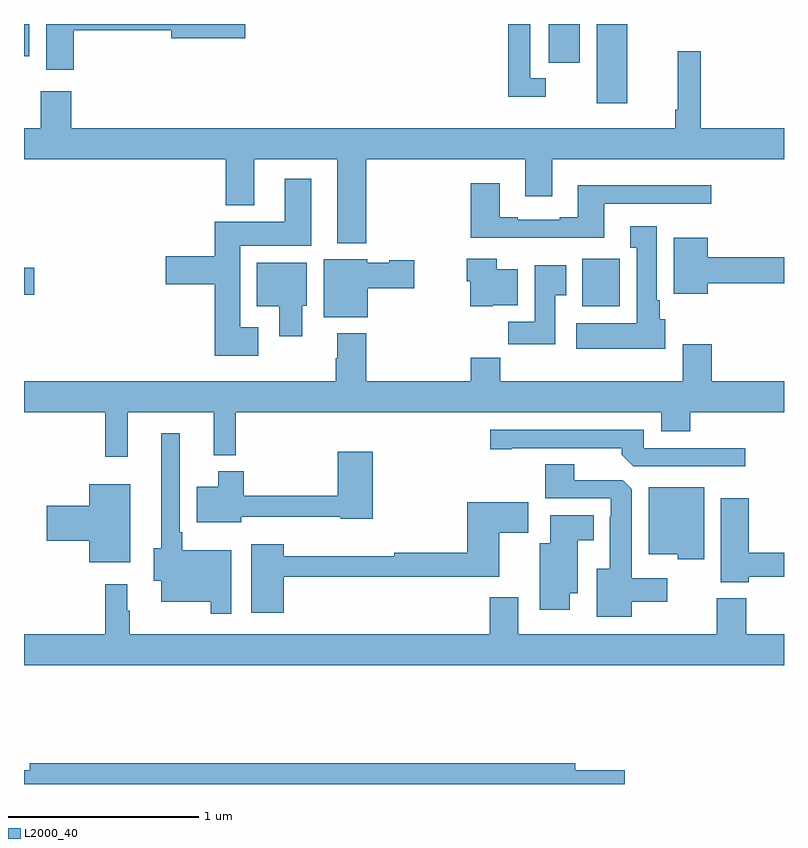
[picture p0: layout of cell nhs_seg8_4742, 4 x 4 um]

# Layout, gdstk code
import gdstk
lib = gdstk.Library(unit=1e-6, precision=1e-09)
def R(c, l, rs):  # rectangles x0, y0, x1, y1
    for r in rs: c.add(gdstk.rectangle(r[:2], r[2:], *l))
def P(c, l, *ps):  # polygons
    for p in ps: c.add(gdstk.Polygon(p, *l))
L2000_40 = (2000, 40)

nhs_seg8_4742 = lib.new_cell('nhs_seg8_4742')
R(nhs_seg8_4742, L2000_40, [(401.939,1094.414,402.135,1094.665), (399,1094.476,399.055,1094.618), (402.014,1095.483,402.175,1095.9), (401.762,1095.696,401.926,1095.9), (399,1095.731,399.028,1095.9)])
P(nhs_seg8_4742, L2000_40, [(399.263,1095.868),(399.776,1095.868),(399.776,1095.826),(400.165,1095.826),(400.165,1095.9),(399.116,1095.9),(399.116,1095.66),(399.263,1095.66)],
  [(401.746,1095.615),(401.664,1095.615),(401.664,1095.9),(401.548,1095.9),(401.548,1095.518),(401.746,1095.518)],
  [(400.802,1095.188),(401.639,1095.188),(401.639,1094.994),(401.779,1094.994),(401.779,1095.188),(403,1095.188),(403,1095.352),(402.563,1095.352),(402.563,1095.757),(402.442,1095.757),(402.442,1095.448),(402.427,1095.448),(402.427,1095.352),(399.248,1095.352),(399.248,1095.547),(399.088,1095.547),(399.088,1095.352),(399,1095.352),(399,1095.188),(400.061,1095.188),(400.061,1094.945),(400.213,1094.945),(400.213,1095.188),(400.649,1095.188),(400.649,1094.747),(400.802,1094.747)],
  [(400.234,1094.305),(400.138,1094.305),(400.138,1094.732),(400.513,1094.732),(400.513,1095.085),(400.373,1095.085),(400.373,1094.86),(400.004,1094.86),(400.004,1094.678),(399.747,1094.678),(399.747,1094.531),(400.004,1094.531),(400.004,1094.153),(400.234,1094.153)],
  [(402.055,1094.955),(402.616,1094.955),(402.616,1095.052),(401.915,1095.052),(401.915,1094.884),(401.819,1094.884),(401.819,1094.871),(401.599,1094.871),(401.599,1094.884),(401.503,1094.884),(401.503,1095.061),(401.351,1095.061),(401.351,1094.774),(402.055,1094.774)],
  [(402.376,1094.346),(402.346,1094.346),(402.346,1094.446),(402.331,1094.446),(402.331,1094.836),(402.191,1094.836),(402.191,1094.723),(402.224,1094.723),(402.224,1094.326),(401.907,1094.326),(401.907,1094.192),(402.376,1094.192)],
  [(402.598,1094.536),(403,1094.536),(403,1094.672),(402.598,1094.672),(402.598,1094.776),(402.419,1094.776),(402.419,1094.48),(402.598,1094.48)],
  [(401.466,1094.42),(401.599,1094.42),(401.599,1094.608),(401.488,1094.608),(401.488,1094.665),(401.33,1094.665),(401.33,1094.547),(401.348,1094.547),(401.348,1094.414),(401.466,1094.414)],
  [(400.81,1094.51),(401.053,1094.51),(401.053,1094.657),(400.923,1094.657),(400.923,1094.644),(400.806,1094.644),(400.806,1094.662),(400.577,1094.662),(400.577,1094.357),(400.81,1094.357)],
  [(400.465,1094.418),(400.489,1094.418),(400.489,1094.644),(400.226,1094.644),(400.226,1094.414),(400.343,1094.414),(400.343,1094.256),(400.465,1094.256)],
  [(401.797,1094.473),(401.854,1094.473),(401.854,1094.629),(401.687,1094.629),(401.687,1094.332),(401.548,1094.332),(401.548,1094.214),(401.797,1094.214)],
  [(401.507,1094.144),(401.351,1094.144),(401.351,1094.02),(400.802,1094.02),(400.802,1094.272),(400.649,1094.272),(400.649,1094.141),(400.642,1094.141),(400.642,1094.02),(399,1094.02),(399,1093.856),(399.427,1093.856),(399.427,1093.623),(399.545,1093.623),(399.545,1093.856),(399.998,1093.856),(399.998,1093.631),(400.115,1093.631),(400.115,1093.856),(402.353,1093.856),(402.353,1093.757),(402.506,1093.757),(402.506,1093.856),(403,1093.856),(403,1094.02),(402.62,1094.02),(402.62,1094.215),(402.467,1094.215),(402.467,1094.02),(401.507,1094.02)],
  [(402.796,1093.668),(402.261,1093.668),(402.261,1093.764),(401.454,1093.764),(401.454,1093.663),(401.566,1093.663),(401.566,1093.668),(402.146,1093.668),(402.146,1093.634),(402.207,1093.572),(402.796,1093.572)],
  [(400.092,1093.129),(399.832,1093.129),(399.832,1093.225),(399.819,1093.225),(399.819,1093.747),(399.722,1093.747),(399.722,1093.142),(399.683,1093.142),(399.683,1092.971),(399.722,1092.971),(399.722,1092.86),(399.984,1092.86),(399.984,1092.795),(400.092,1092.795)],
  [(400.144,1093.307),(400.668,1093.307),(400.668,1093.295),(400.835,1093.295),(400.835,1093.648),(400.652,1093.648),(400.652,1093.417),(400.157,1093.417),(400.157,1093.546),(400.022,1093.546),(400.022,1093.465),(399.908,1093.465),(399.908,1093.277),(400.144,1093.277)],
  [(402.199,1092.86),(402.385,1092.86),(402.385,1092.982),(402.199,1092.982),(402.199,1093.451),(402.15,1093.5),(401.896,1093.5),(401.896,1093.583),(401.744,1093.583),(401.744,1093.404),(402.087,1093.404),(402.087,1093.307),(402.083,1093.307),(402.083,1093.033),(402.014,1093.033),(402.014,1092.779),(402.199,1092.779)],
  [(399.559,1093.477),(399.344,1093.477),(399.344,1093.364),(399.12,1093.364),(399.12,1093.181),(399.344,1093.181),(399.344,1093.067),(399.559,1093.067)],
  [(402.58,1093.462),(402.287,1093.462),(402.287,1093.109),(402.441,1093.109),(402.441,1093.082),(402.58,1093.082)],
  [(402.815,1092.99),(403,1092.99),(403,1093.118),(402.815,1093.118),(402.815,1093.405),(402.668,1093.405),(402.668,1092.962),(402.815,1092.962)],
  [(400.367,1092.99),(401.5,1092.99),(401.5,1093.222),(401.653,1093.222),(401.653,1093.384),(401.333,1093.384),(401.333,1093.118),(400.949,1093.118),(400.949,1093.1),(400.367,1093.1),(400.367,1093.162),(400.196,1093.162),(400.196,1092.801),(400.367,1092.801)],
  [(401.872,1092.905),(401.914,1092.905),(401.914,1093.184),(401.998,1093.184),(401.998,1093.315),(401.771,1093.315),(401.771,1093.168),(401.714,1093.168),(401.714,1092.816),(401.872,1092.816)],
  [(403,1092.688),(402.8,1092.688),(402.8,1092.877),(402.647,1092.877),(402.647,1092.688),(401.602,1092.688),(401.602,1092.883),(401.45,1092.883),(401.45,1092.688),(399.556,1092.688),(399.556,1092.812),(399.544,1092.812),(399.544,1092.952),(399.427,1092.952),(399.427,1092.688),(399,1092.688),(399,1092.524),(403,1092.524)],
  [(402.163,1091.972),(401.902,1091.972),(401.902,1092.008),(399.029,1092.008),(399.029,1091.972),(399,1091.972),(399,1091.9),(402.163,1091.9)])

lib.write_gds('nhs_seg8_4742.gds')
